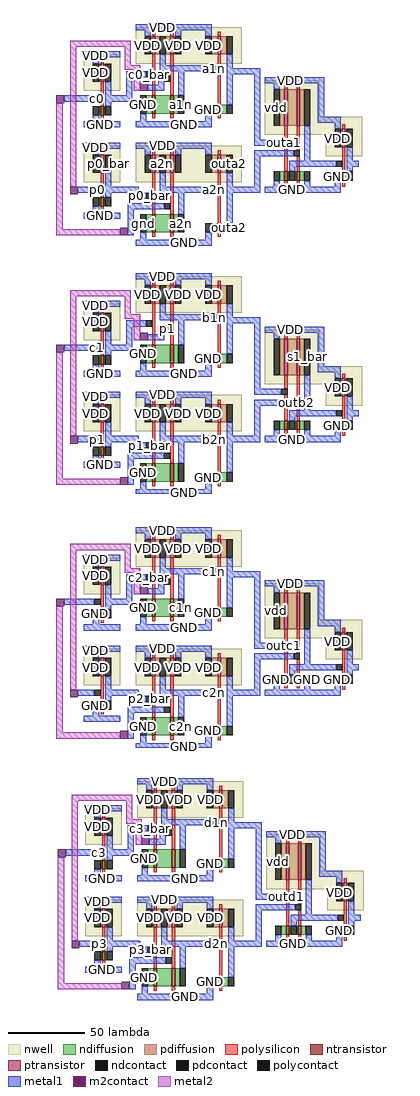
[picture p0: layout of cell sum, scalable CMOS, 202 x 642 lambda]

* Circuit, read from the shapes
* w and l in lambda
.subckt sum GND VDD a1m a1n a2m a2n aps b1m b1n b2m b2n bps c0 c0_bar c1 c1_bar c1m c1n c2 c2_bar c2m c2n c3 c3_bar cps d1m d1n d2m d2n dps outa1 outa2 outb1 outb2 outc1 outc2 outd1 outd2 p0 p0_bar p1 p1_bar p2 p2_bar p3 p3_bar s0 s0_bar s1 s1_bar s2 s2_bar s3 s3_bar
M1 p2_bar p2 GND VSUBS nfet w=6 l=2
M2 c2_bar c2 GND VSUBS nfet w=6 l=2
M3 p1_bar p1 GND VSUBS nfet w=6 l=2
M4 c1_bar c1 GND VSUBS nfet w=6 l=2
M5 p0_bar p0 GND VSUBS nfet w=6 l=2
M6 c0_bar c0 GND VSUBS nfet w=6 l=2
M7 p3_bar p3 GND VSUBS nfet w=6 l=2
M8 c3_bar c3 GND VSUBS nfet w=6 l=2
M9 c2m p2_bar GND VSUBS nfet w=12 l=2
M10 c1m c2_bar GND VSUBS nfet w=12 l=2
M11 b2m p1_bar GND VSUBS nfet w=12 l=2
M12 b1m c1_bar GND VSUBS nfet w=12 l=2
M13 a2m p0_bar GND VSUBS nfet w=12 l=2
M14 a1m c0_bar GND VSUBS nfet w=12 l=2
M15 d2m p3_bar GND VSUBS nfet w=12 l=2
M16 d1m c3_bar GND VSUBS nfet w=12 l=2
M17 c2n c2 c2m VSUBS nfet w=12 l=2
M18 c1n p2 c1m VSUBS nfet w=12 l=2
M19 b2n c1 b2m VSUBS nfet w=12 l=2
M20 b1n p1 b1m VSUBS nfet w=12 l=2
M21 a2n c0 a2m VSUBS nfet w=12 l=2
M22 a1n p0 a1m VSUBS nfet w=12 l=2
M23 d2n c3 d2m VSUBS nfet w=12 l=2
M24 d1n p3 d1m VSUBS nfet w=12 l=2
M25 outc2 c2n GND VSUBS nfet w=6 l=2
M26 outc1 c1n GND VSUBS nfet w=6 l=2
M27 outb2 b2n GND VSUBS nfet w=6 l=2
M28 outb1 b1n GND VSUBS nfet w=6 l=2
M29 outa2 a2n GND VSUBS nfet w=6 l=2
M30 outa1 a1n GND VSUBS nfet w=6 l=2
M31 outd2 d2n GND VSUBS nfet w=6 l=2
M32 outd1 d1n GND VSUBS nfet w=6 l=2
M33 s2_bar outc1 GND VSUBS nfet w=6 l=2
M34 s1_bar outb1 GND VSUBS nfet w=6 l=2
M35 s0_bar outa1 GND VSUBS nfet w=6 l=2
M36 s3_bar outd1 GND VSUBS nfet w=6 l=2
M37 GND outc2 s2_bar VSUBS nfet w=6 l=2
M38 GND outb2 s1_bar VSUBS nfet w=6 l=2
M39 GND outa2 s0_bar VSUBS nfet w=6 l=2
M40 GND outd2 s3_bar VSUBS nfet w=6 l=2
M41 s2 s2_bar GND VSUBS nfet w=6 l=2
M42 s1 s1_bar GND VSUBS nfet w=6 l=2
M43 s0 s0_bar GND VSUBS nfet w=6 l=2
M44 s3 s3_bar GND VSUBS nfet w=6 l=2
M45 p2_bar p2 VDD n1 pfet w=12 l=2
M46 c2_bar c2 VDD n2 pfet w=12 l=2
M47 p1_bar p1 VDD n3 pfet w=12 l=2
M48 c1_bar c1 VDD n4 pfet w=12 l=2
M49 p0_bar p0 VDD n5 pfet w=12 l=2
M50 c0_bar c0 VDD n6 pfet w=12 l=2
M51 p3_bar p3 VDD n7 pfet w=12 l=2
M52 c3_bar c3 VDD n8 pfet w=12 l=2
M53 c2n p2_bar VDD n9 pfet w=12 l=2
M54 c1n c2_bar VDD n10 pfet w=12 l=2
M55 b2n p1_bar VDD n11 pfet w=12 l=2
M56 b1n c1_bar VDD n12 pfet w=12 l=2
M57 a2n p0_bar VDD n13 pfet w=12 l=2
M58 a1n c0_bar VDD n14 pfet w=12 l=2
M59 d2n p3_bar VDD n15 pfet w=12 l=2
M60 d1n c3_bar VDD n16 pfet w=12 l=2
M61 VDD c2 c2n n9 pfet w=12 l=2
M62 VDD p2 c1n n10 pfet w=12 l=2
M63 VDD c1 b2n n11 pfet w=12 l=2
M64 VDD p1 b1n n12 pfet w=12 l=2
M65 VDD c0 a2n n13 pfet w=12 l=2
M66 VDD p0 a1n n14 pfet w=12 l=2
M67 VDD c3 d2n n15 pfet w=12 l=2
M68 VDD p3 d1n n16 pfet w=12 l=2
M69 outc2 c2n VDD n9 pfet w=12 l=2
M70 outc1 c1n VDD n10 pfet w=12 l=2
M71 outb2 b2n VDD n11 pfet w=12 l=2
M72 outb1 b1n VDD n12 pfet w=12 l=2
M73 outa2 a2n VDD n13 pfet w=12 l=2
M74 outa1 a1n VDD n14 pfet w=12 l=2
M75 outd2 d2n VDD n15 pfet w=12 l=2
M76 outd1 d1n VDD n16 pfet w=12 l=2
M77 cps outc1 VDD n17 pfet w=24 l=2
M78 bps outb1 VDD n18 pfet w=24 l=2
M79 aps outa1 VDD n19 pfet w=24 l=2
M80 dps outd1 VDD n20 pfet w=24 l=2
M81 s2_bar outc2 cps n17 pfet w=24 l=2
M82 s1_bar outb2 bps n18 pfet w=24 l=2
M83 s0_bar outa2 aps n19 pfet w=24 l=2
M84 s3_bar outd2 dps n20 pfet w=24 l=2
M85 s2 s2_bar VDD n17 pfet w=12 l=2
M86 s1 s1_bar VDD n18 pfet w=12 l=2
M87 s0 s0_bar VDD n19 pfet w=12 l=2
M88 s3 s3_bar VDD n20 pfet w=12 l=2
.ends

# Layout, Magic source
magic
tech scmos
<< nwell >>
rect 18 102 42 126
rect 52 120 122 144
rect 137 85 173 109
rect 137 73 201 85
rect 18 42 42 66
rect 52 42 122 66
rect 177 59 201 73
rect 18 -62 42 -38
rect 52 -44 122 -20
rect 137 -79 173 -55
rect 137 -91 201 -79
rect 18 -122 42 -98
rect 52 -122 122 -98
rect 177 -105 201 -91
rect 18 -229 42 -205
rect 52 -211 122 -187
rect 137 -246 173 -222
rect 137 -258 201 -246
rect 18 -289 42 -265
rect 52 -289 122 -265
rect 177 -272 201 -258
rect 19 -394 43 -370
rect 53 -376 123 -352
rect 138 -411 174 -387
rect 138 -423 202 -411
rect 19 -454 43 -430
rect 53 -454 123 -430
rect 178 -437 202 -423
<< ntransistor >>
rect 29 86 31 92
rect 63 87 65 99
rect 75 87 77 99
rect 106 87 108 93
rect 29 26 31 32
rect 63 9 65 21
rect 75 9 77 21
rect 150 43 152 49
rect 158 43 160 49
rect 188 43 190 49
rect 106 9 108 15
rect 29 -78 31 -72
rect 63 -77 65 -65
rect 75 -77 77 -65
rect 106 -77 108 -71
rect 29 -138 31 -132
rect 63 -155 65 -143
rect 75 -155 77 -143
rect 150 -121 152 -115
rect 158 -121 160 -115
rect 188 -121 190 -115
rect 106 -155 108 -149
rect 29 -245 31 -239
rect 63 -244 65 -232
rect 75 -244 77 -232
rect 106 -244 108 -238
rect 29 -305 31 -299
rect 63 -322 65 -310
rect 75 -322 77 -310
rect 150 -288 152 -282
rect 158 -288 160 -282
rect 188 -288 190 -282
rect 106 -322 108 -316
rect 30 -410 32 -404
rect 64 -409 66 -397
rect 76 -409 78 -397
rect 107 -409 109 -403
rect 30 -470 32 -464
rect 64 -487 66 -475
rect 76 -487 78 -475
rect 151 -453 153 -447
rect 159 -453 161 -447
rect 189 -453 191 -447
rect 107 -487 109 -481
<< ptransistor >>
rect 63 126 65 138
rect 75 126 77 138
rect 106 126 108 138
rect 29 108 31 120
rect 150 79 152 103
rect 158 79 160 103
rect 29 48 31 60
rect 63 48 65 60
rect 75 48 77 60
rect 106 48 108 60
rect 188 65 190 77
rect 63 -38 65 -26
rect 75 -38 77 -26
rect 106 -38 108 -26
rect 29 -56 31 -44
rect 150 -85 152 -61
rect 158 -85 160 -61
rect 29 -116 31 -104
rect 63 -116 65 -104
rect 75 -116 77 -104
rect 106 -116 108 -104
rect 188 -99 190 -87
rect 63 -205 65 -193
rect 75 -205 77 -193
rect 106 -205 108 -193
rect 29 -223 31 -211
rect 150 -252 152 -228
rect 158 -252 160 -228
rect 29 -283 31 -271
rect 63 -283 65 -271
rect 75 -283 77 -271
rect 106 -283 108 -271
rect 188 -266 190 -254
rect 64 -370 66 -358
rect 76 -370 78 -358
rect 107 -370 109 -358
rect 30 -388 32 -376
rect 151 -417 153 -393
rect 159 -417 161 -393
rect 30 -448 32 -436
rect 64 -448 66 -436
rect 76 -448 78 -436
rect 107 -448 109 -436
rect 189 -431 191 -419
<< ndiffusion >>
rect 28 86 29 92
rect 31 86 32 92
rect 59 87 63 99
rect 65 87 75 99
rect 77 87 80 99
rect 102 87 106 93
rect 108 87 112 93
rect 28 26 29 32
rect 31 26 32 32
rect 59 9 63 21
rect 65 9 75 21
rect 77 9 80 21
rect 147 43 150 49
rect 152 43 153 49
rect 157 43 158 49
rect 160 43 163 49
rect 187 43 188 49
rect 190 43 191 49
rect 102 9 106 15
rect 108 9 112 15
rect 28 -78 29 -72
rect 31 -78 32 -72
rect 59 -77 63 -65
rect 65 -77 75 -65
rect 77 -77 80 -65
rect 102 -77 106 -71
rect 108 -77 112 -71
rect 28 -138 29 -132
rect 31 -138 32 -132
rect 59 -155 63 -143
rect 65 -155 75 -143
rect 77 -155 80 -143
rect 147 -121 150 -115
rect 152 -121 153 -115
rect 157 -121 158 -115
rect 160 -121 163 -115
rect 187 -121 188 -115
rect 190 -121 191 -115
rect 102 -155 106 -149
rect 108 -155 112 -149
rect 28 -245 29 -239
rect 31 -245 32 -239
rect 59 -244 63 -232
rect 65 -244 75 -232
rect 77 -244 80 -232
rect 102 -244 106 -238
rect 108 -244 112 -238
rect 28 -305 29 -299
rect 31 -305 32 -299
rect 59 -322 63 -310
rect 65 -322 75 -310
rect 77 -322 80 -310
rect 147 -288 150 -282
rect 152 -288 153 -282
rect 157 -288 158 -282
rect 160 -288 163 -282
rect 187 -288 188 -282
rect 190 -288 191 -282
rect 102 -322 106 -316
rect 108 -322 112 -316
rect 29 -410 30 -404
rect 32 -410 33 -404
rect 60 -409 64 -397
rect 66 -409 76 -397
rect 78 -409 81 -397
rect 103 -409 107 -403
rect 109 -409 113 -403
rect 29 -470 30 -464
rect 32 -470 33 -464
rect 60 -487 64 -475
rect 66 -487 76 -475
rect 78 -487 81 -475
rect 148 -453 151 -447
rect 153 -453 154 -447
rect 158 -453 159 -447
rect 161 -453 164 -447
rect 188 -453 189 -447
rect 191 -453 192 -447
rect 103 -487 107 -481
rect 109 -487 113 -481
<< pdiffusion >>
rect 62 126 63 138
rect 65 126 68 138
rect 72 126 75 138
rect 77 126 78 138
rect 102 126 106 138
rect 108 126 112 138
rect 28 108 29 120
rect 31 108 32 120
rect 147 79 150 103
rect 152 79 158 103
rect 160 79 163 103
rect 28 48 29 60
rect 31 48 32 60
rect 62 48 63 60
rect 65 48 68 60
rect 72 48 75 60
rect 77 48 78 60
rect 102 48 106 60
rect 108 48 112 60
rect 187 65 188 77
rect 190 65 191 77
rect 62 -38 63 -26
rect 65 -38 68 -26
rect 72 -38 75 -26
rect 77 -38 78 -26
rect 102 -38 106 -26
rect 108 -38 112 -26
rect 28 -56 29 -44
rect 31 -56 32 -44
rect 147 -85 150 -61
rect 152 -85 158 -61
rect 160 -85 163 -61
rect 28 -116 29 -104
rect 31 -116 32 -104
rect 62 -116 63 -104
rect 65 -116 68 -104
rect 72 -116 75 -104
rect 77 -116 78 -104
rect 102 -116 106 -104
rect 108 -116 112 -104
rect 187 -99 188 -87
rect 190 -99 191 -87
rect 62 -205 63 -193
rect 65 -205 68 -193
rect 72 -205 75 -193
rect 77 -205 78 -193
rect 102 -205 106 -193
rect 108 -205 112 -193
rect 28 -223 29 -211
rect 31 -223 32 -211
rect 147 -252 150 -228
rect 152 -252 158 -228
rect 160 -252 163 -228
rect 28 -283 29 -271
rect 31 -283 32 -271
rect 62 -283 63 -271
rect 65 -283 68 -271
rect 72 -283 75 -271
rect 77 -283 78 -271
rect 102 -283 106 -271
rect 108 -283 112 -271
rect 187 -266 188 -254
rect 190 -266 191 -254
rect 63 -370 64 -358
rect 66 -370 69 -358
rect 73 -370 76 -358
rect 78 -370 79 -358
rect 103 -370 107 -358
rect 109 -370 113 -358
rect 29 -388 30 -376
rect 32 -388 33 -376
rect 148 -417 151 -393
rect 153 -417 159 -393
rect 161 -417 164 -393
rect 29 -448 30 -436
rect 32 -448 33 -436
rect 63 -448 64 -436
rect 66 -448 69 -436
rect 73 -448 76 -436
rect 78 -448 79 -436
rect 103 -448 107 -436
rect 109 -448 113 -436
rect 188 -431 189 -419
rect 191 -431 192 -419
<< ndcontact >>
rect 24 86 28 92
rect 32 86 36 92
rect 55 87 59 99
rect 80 87 84 99
rect 98 87 102 93
rect 112 87 116 93
rect 24 26 28 32
rect 32 26 36 32
rect 55 9 59 21
rect 80 9 84 21
rect 143 43 147 49
rect 153 43 157 49
rect 163 43 167 49
rect 183 43 187 49
rect 191 43 195 49
rect 98 9 102 15
rect 112 9 116 15
rect 24 -78 28 -72
rect 32 -78 36 -72
rect 55 -77 59 -65
rect 80 -77 84 -65
rect 98 -77 102 -71
rect 112 -77 116 -71
rect 24 -138 28 -132
rect 32 -138 36 -132
rect 55 -155 59 -143
rect 80 -155 84 -143
rect 143 -121 147 -115
rect 153 -121 157 -115
rect 163 -121 167 -115
rect 183 -121 187 -115
rect 191 -121 195 -115
rect 98 -155 102 -149
rect 112 -155 116 -149
rect 24 -245 28 -239
rect 32 -245 36 -239
rect 55 -244 59 -232
rect 80 -244 84 -232
rect 98 -244 102 -238
rect 112 -244 116 -238
rect 24 -305 28 -299
rect 32 -305 36 -299
rect 55 -322 59 -310
rect 80 -322 84 -310
rect 143 -288 147 -282
rect 153 -288 157 -282
rect 163 -288 167 -282
rect 183 -288 187 -282
rect 191 -288 195 -282
rect 98 -322 102 -316
rect 112 -322 116 -316
rect 25 -410 29 -404
rect 33 -410 37 -404
rect 56 -409 60 -397
rect 81 -409 85 -397
rect 99 -409 103 -403
rect 113 -409 117 -403
rect 25 -470 29 -464
rect 33 -470 37 -464
rect 56 -487 60 -475
rect 81 -487 85 -475
rect 144 -453 148 -447
rect 154 -453 158 -447
rect 164 -453 168 -447
rect 184 -453 188 -447
rect 192 -453 196 -447
rect 99 -487 103 -481
rect 113 -487 117 -481
<< pdcontact >>
rect 58 126 62 138
rect 68 126 72 138
rect 78 126 82 138
rect 98 126 102 138
rect 112 126 116 138
rect 24 108 28 120
rect 32 108 36 120
rect 143 79 147 103
rect 163 79 167 103
rect 24 48 28 60
rect 32 48 36 60
rect 58 48 62 60
rect 68 48 72 60
rect 78 48 82 60
rect 98 48 102 60
rect 112 48 116 60
rect 183 65 187 77
rect 191 65 195 77
rect 58 -38 62 -26
rect 68 -38 72 -26
rect 78 -38 82 -26
rect 98 -38 102 -26
rect 112 -38 116 -26
rect 24 -56 28 -44
rect 32 -56 36 -44
rect 143 -85 147 -61
rect 163 -85 167 -61
rect 24 -116 28 -104
rect 32 -116 36 -104
rect 58 -116 62 -104
rect 68 -116 72 -104
rect 78 -116 82 -104
rect 98 -116 102 -104
rect 112 -116 116 -104
rect 183 -99 187 -87
rect 191 -99 195 -87
rect 58 -205 62 -193
rect 68 -205 72 -193
rect 78 -205 82 -193
rect 98 -205 102 -193
rect 112 -205 116 -193
rect 24 -223 28 -211
rect 32 -223 36 -211
rect 143 -252 147 -228
rect 163 -252 167 -228
rect 24 -283 28 -271
rect 32 -283 36 -271
rect 58 -283 62 -271
rect 68 -283 72 -271
rect 78 -283 82 -271
rect 98 -283 102 -271
rect 112 -283 116 -271
rect 183 -266 187 -254
rect 191 -266 195 -254
rect 59 -370 63 -358
rect 69 -370 73 -358
rect 79 -370 83 -358
rect 99 -370 103 -358
rect 113 -370 117 -358
rect 25 -388 29 -376
rect 33 -388 37 -376
rect 144 -417 148 -393
rect 164 -417 168 -393
rect 25 -448 29 -436
rect 33 -448 37 -436
rect 59 -448 63 -436
rect 69 -448 73 -436
rect 79 -448 83 -436
rect 99 -448 103 -436
rect 113 -448 117 -436
rect 184 -431 188 -419
rect 192 -431 196 -419
<< polysilicon >>
rect 63 138 65 141
rect 75 138 77 141
rect 106 138 108 141
rect 29 120 31 123
rect 29 92 31 108
rect 63 99 65 126
rect 75 99 77 126
rect 106 93 108 126
rect 150 103 152 106
rect 158 103 160 106
rect 29 83 31 86
rect 63 84 65 87
rect 75 84 77 87
rect 106 84 108 87
rect 150 70 152 79
rect 29 60 31 63
rect 63 60 65 63
rect 75 60 77 63
rect 106 60 108 63
rect 150 49 152 66
rect 158 63 160 79
rect 188 77 190 80
rect 158 49 160 59
rect 188 49 190 65
rect 29 32 31 48
rect 29 23 31 26
rect 63 21 65 48
rect 75 21 77 48
rect 106 15 108 48
rect 150 40 152 43
rect 158 40 160 43
rect 188 39 190 43
rect 63 6 65 9
rect 75 6 77 9
rect 106 6 108 9
rect 63 -26 65 -23
rect 75 -26 77 -23
rect 106 -26 108 -23
rect 29 -44 31 -41
rect 29 -72 31 -56
rect 63 -65 65 -38
rect 75 -65 77 -38
rect 106 -71 108 -38
rect 150 -61 152 -58
rect 158 -61 160 -58
rect 29 -81 31 -78
rect 63 -80 65 -77
rect 75 -80 77 -77
rect 106 -80 108 -77
rect 150 -94 152 -85
rect 29 -104 31 -101
rect 63 -104 65 -101
rect 75 -104 77 -101
rect 106 -104 108 -101
rect 150 -115 152 -98
rect 158 -101 160 -85
rect 188 -87 190 -84
rect 158 -115 160 -105
rect 188 -115 190 -99
rect 29 -132 31 -116
rect 29 -141 31 -138
rect 63 -143 65 -116
rect 75 -143 77 -116
rect 106 -149 108 -116
rect 150 -124 152 -121
rect 158 -124 160 -121
rect 188 -125 190 -121
rect 63 -158 65 -155
rect 75 -158 77 -155
rect 106 -158 108 -155
rect 63 -193 65 -190
rect 75 -193 77 -190
rect 106 -193 108 -190
rect 29 -211 31 -208
rect 29 -239 31 -223
rect 63 -232 65 -205
rect 75 -232 77 -205
rect 106 -238 108 -205
rect 150 -228 152 -225
rect 158 -228 160 -225
rect 29 -248 31 -245
rect 63 -247 65 -244
rect 75 -247 77 -244
rect 106 -247 108 -244
rect 150 -261 152 -252
rect 29 -271 31 -268
rect 63 -271 65 -268
rect 75 -271 77 -268
rect 106 -271 108 -268
rect 150 -282 152 -265
rect 158 -268 160 -252
rect 188 -254 190 -251
rect 158 -282 160 -272
rect 188 -282 190 -266
rect 29 -299 31 -283
rect 29 -308 31 -305
rect 63 -310 65 -283
rect 75 -310 77 -283
rect 106 -316 108 -283
rect 150 -291 152 -288
rect 158 -291 160 -288
rect 188 -292 190 -288
rect 63 -325 65 -322
rect 75 -325 77 -322
rect 106 -325 108 -322
rect 64 -358 66 -355
rect 76 -358 78 -355
rect 107 -358 109 -355
rect 30 -376 32 -373
rect 30 -404 32 -388
rect 64 -397 66 -370
rect 76 -397 78 -370
rect 107 -403 109 -370
rect 151 -393 153 -390
rect 159 -393 161 -390
rect 30 -413 32 -410
rect 64 -412 66 -409
rect 76 -412 78 -409
rect 107 -412 109 -409
rect 151 -426 153 -417
rect 30 -436 32 -433
rect 64 -436 66 -433
rect 76 -436 78 -433
rect 107 -436 109 -433
rect 151 -447 153 -430
rect 159 -433 161 -417
rect 189 -419 191 -416
rect 159 -447 161 -437
rect 189 -447 191 -431
rect 30 -464 32 -448
rect 30 -473 32 -470
rect 64 -475 66 -448
rect 76 -475 78 -448
rect 107 -481 109 -448
rect 151 -456 153 -453
rect 159 -456 161 -453
rect 189 -457 191 -453
rect 64 -490 66 -487
rect 76 -490 78 -487
rect 107 -490 109 -487
<< polycontact >>
rect 59 111 63 115
rect 25 95 29 99
rect 71 108 75 112
rect 102 115 106 119
rect 148 66 152 70
rect 156 59 160 63
rect 184 52 188 56
rect 25 35 29 39
rect 59 31 63 35
rect 71 24 75 28
rect 102 35 106 39
rect 59 -53 63 -49
rect 25 -69 29 -65
rect 71 -56 75 -52
rect 102 -49 106 -45
rect 148 -98 152 -94
rect 156 -105 160 -101
rect 184 -112 188 -108
rect 25 -129 29 -125
rect 59 -133 63 -129
rect 71 -140 75 -136
rect 102 -129 106 -125
rect 59 -220 63 -216
rect 25 -236 29 -232
rect 71 -223 75 -219
rect 102 -216 106 -212
rect 148 -265 152 -261
rect 156 -272 160 -268
rect 184 -279 188 -275
rect 25 -296 29 -292
rect 59 -300 63 -296
rect 71 -307 75 -303
rect 102 -296 106 -292
rect 60 -385 64 -381
rect 26 -401 30 -397
rect 72 -388 76 -384
rect 103 -381 107 -377
rect 149 -430 153 -426
rect 157 -437 161 -433
rect 185 -444 189 -440
rect 26 -461 30 -457
rect 60 -465 64 -461
rect 72 -472 76 -468
rect 103 -461 107 -457
<< metal1 >>
rect 52 142 102 146
rect 58 138 62 142
rect 78 138 82 142
rect 18 124 42 128
rect 98 138 102 142
rect 24 120 28 124
rect 68 119 72 126
rect 68 115 102 119
rect 112 117 116 126
rect 32 99 36 108
rect 46 111 59 115
rect 46 99 50 111
rect 67 106 71 112
rect 60 102 71 106
rect 80 99 84 115
rect 5 95 25 99
rect 32 95 50 99
rect 32 92 36 95
rect 112 113 134 117
rect 112 93 116 113
rect 24 82 28 86
rect 55 82 59 87
rect 98 82 102 87
rect 18 78 42 82
rect 52 78 102 82
rect 130 70 134 113
rect 137 107 176 111
rect 143 103 147 107
rect 172 85 176 107
rect 172 81 187 85
rect 18 64 42 68
rect 52 64 102 68
rect 130 66 148 70
rect 24 60 28 64
rect 58 60 62 64
rect 78 60 82 64
rect 98 60 102 64
rect 32 39 36 48
rect 68 39 72 48
rect 112 39 116 48
rect 130 59 156 63
rect 130 39 134 59
rect 163 56 167 79
rect 183 77 187 81
rect 191 56 195 65
rect 153 52 184 56
rect 191 52 199 56
rect 153 49 157 52
rect 191 49 195 52
rect 143 39 147 43
rect 163 39 167 43
rect 183 39 187 43
rect 14 35 25 39
rect 32 35 54 39
rect 68 35 102 39
rect 112 35 134 39
rect 137 35 187 39
rect 32 32 36 35
rect 50 31 59 35
rect 24 22 28 26
rect 47 24 71 28
rect 18 18 42 22
rect 47 7 51 24
rect 80 21 84 35
rect 112 15 116 35
rect 55 4 59 9
rect 98 4 102 9
rect 52 0 102 4
rect 52 -22 102 -18
rect 58 -26 62 -22
rect 78 -26 82 -22
rect 18 -40 42 -36
rect 98 -26 102 -22
rect 24 -44 28 -40
rect 68 -45 72 -38
rect 68 -49 102 -45
rect 112 -47 116 -38
rect 32 -65 36 -56
rect 46 -53 59 -49
rect 46 -65 50 -53
rect 67 -58 71 -52
rect 60 -62 71 -58
rect 80 -65 84 -49
rect 5 -69 25 -65
rect 32 -69 50 -65
rect 32 -72 36 -69
rect 112 -51 134 -47
rect 112 -71 116 -51
rect 24 -82 28 -78
rect 55 -82 59 -77
rect 98 -82 102 -77
rect 18 -86 42 -82
rect 52 -86 102 -82
rect 130 -94 134 -51
rect 137 -57 176 -53
rect 143 -61 147 -57
rect 172 -79 176 -57
rect 172 -83 187 -79
rect 18 -100 42 -96
rect 52 -100 102 -96
rect 130 -98 148 -94
rect 24 -104 28 -100
rect 58 -104 62 -100
rect 78 -104 82 -100
rect 98 -104 102 -100
rect 32 -125 36 -116
rect 68 -125 72 -116
rect 112 -125 116 -116
rect 130 -105 156 -101
rect 130 -125 134 -105
rect 163 -108 167 -85
rect 183 -87 187 -83
rect 191 -108 195 -99
rect 153 -112 184 -108
rect 191 -112 199 -108
rect 153 -115 157 -112
rect 191 -115 195 -112
rect 143 -125 147 -121
rect 163 -125 167 -121
rect 183 -125 187 -121
rect 14 -129 25 -125
rect 32 -129 54 -125
rect 68 -129 102 -125
rect 112 -129 134 -125
rect 137 -129 187 -125
rect 32 -132 36 -129
rect 50 -133 59 -129
rect 24 -142 28 -138
rect 47 -140 71 -136
rect 18 -146 42 -142
rect 47 -157 51 -140
rect 80 -143 84 -129
rect 112 -149 116 -129
rect 55 -160 59 -155
rect 98 -160 102 -155
rect 52 -163 102 -160
rect 52 -189 102 -185
rect 58 -193 62 -189
rect 78 -193 82 -189
rect 18 -207 42 -203
rect 98 -193 102 -189
rect 24 -211 28 -207
rect 68 -212 72 -205
rect 68 -216 102 -212
rect 112 -214 116 -205
rect 32 -232 36 -223
rect 46 -220 59 -216
rect 46 -232 50 -220
rect 67 -225 71 -219
rect 60 -229 71 -225
rect 80 -232 84 -216
rect 5 -236 25 -232
rect 32 -236 50 -232
rect 32 -239 36 -236
rect 112 -218 134 -214
rect 112 -238 116 -218
rect 24 -249 28 -245
rect 55 -249 59 -244
rect 98 -249 102 -244
rect 18 -253 42 -249
rect 52 -253 102 -249
rect 130 -261 134 -218
rect 137 -224 176 -220
rect 143 -228 147 -224
rect 172 -246 176 -224
rect 172 -250 187 -246
rect 18 -267 42 -263
rect 52 -267 102 -263
rect 130 -265 148 -261
rect 24 -271 28 -267
rect 58 -271 62 -267
rect 78 -271 82 -267
rect 98 -271 102 -267
rect 32 -292 36 -283
rect 68 -292 72 -283
rect 112 -292 116 -283
rect 130 -272 156 -268
rect 130 -292 134 -272
rect 163 -275 167 -252
rect 183 -254 187 -250
rect 191 -275 195 -266
rect 153 -279 184 -275
rect 191 -279 199 -275
rect 153 -282 157 -279
rect 191 -282 195 -279
rect 143 -292 147 -288
rect 163 -292 167 -288
rect 183 -292 187 -288
rect 14 -296 25 -292
rect 32 -296 54 -292
rect 68 -296 102 -292
rect 112 -296 134 -292
rect 137 -296 187 -292
rect 32 -299 36 -296
rect 50 -300 59 -296
rect 24 -309 28 -305
rect 47 -307 71 -303
rect 18 -313 42 -309
rect 47 -324 51 -307
rect 80 -310 84 -296
rect 112 -316 116 -296
rect 55 -327 59 -322
rect 98 -327 102 -322
rect 52 -330 102 -327
rect 53 -354 103 -350
rect 59 -358 63 -354
rect 79 -358 83 -354
rect 19 -372 43 -368
rect 99 -358 103 -354
rect 25 -376 29 -372
rect 69 -377 73 -370
rect 69 -381 103 -377
rect 113 -379 117 -370
rect 33 -397 37 -388
rect 47 -385 60 -381
rect 47 -397 51 -385
rect 68 -390 72 -384
rect 61 -394 72 -390
rect 81 -397 85 -381
rect 6 -401 26 -397
rect 33 -401 51 -397
rect 33 -404 37 -401
rect 113 -383 135 -379
rect 113 -403 117 -383
rect 25 -414 29 -410
rect 56 -414 60 -409
rect 99 -414 103 -409
rect 19 -418 43 -414
rect 53 -418 103 -414
rect 131 -426 135 -383
rect 138 -389 177 -385
rect 144 -393 148 -389
rect 173 -411 177 -389
rect 173 -415 188 -411
rect 19 -432 43 -428
rect 53 -432 103 -428
rect 131 -430 149 -426
rect 25 -436 29 -432
rect 59 -436 63 -432
rect 79 -436 83 -432
rect 99 -436 103 -432
rect 33 -457 37 -448
rect 69 -457 73 -448
rect 113 -457 117 -448
rect 131 -437 157 -433
rect 131 -457 135 -437
rect 164 -440 168 -417
rect 184 -419 188 -415
rect 192 -440 196 -431
rect 154 -444 185 -440
rect 192 -444 200 -440
rect 154 -447 158 -444
rect 192 -447 196 -444
rect 144 -457 148 -453
rect 164 -457 168 -453
rect 184 -457 188 -453
rect 15 -461 26 -457
rect 33 -461 55 -457
rect 69 -461 103 -457
rect 113 -461 135 -457
rect 138 -461 188 -457
rect 33 -464 37 -461
rect 51 -465 60 -461
rect 25 -474 29 -470
rect 48 -472 72 -468
rect 19 -478 43 -474
rect 48 -489 52 -472
rect 81 -475 85 -461
rect 113 -481 117 -461
rect 56 -492 60 -487
rect 99 -492 103 -487
rect 53 -496 103 -492
<< m2contact >>
rect 55 102 60 107
rect 0 94 5 99
rect 9 34 14 39
rect 42 7 47 12
rect 55 -62 60 -57
rect 0 -70 5 -65
rect 9 -130 14 -125
rect 42 -157 47 -152
rect 55 -229 60 -224
rect 0 -237 5 -232
rect 9 -297 14 -292
rect 42 -324 47 -319
rect 56 -394 61 -389
rect 1 -402 6 -397
rect 10 -462 15 -457
rect 43 -489 48 -484
<< metal2 >>
rect 9 131 49 135
rect 0 11 4 94
rect 9 39 13 131
rect 45 119 49 131
rect 45 116 55 119
rect 51 102 55 116
rect 0 7 42 11
rect 9 -33 49 -29
rect 0 -153 4 -70
rect 9 -125 13 -33
rect 45 -45 49 -33
rect 45 -48 55 -45
rect 51 -62 55 -48
rect 0 -157 42 -153
rect 9 -200 49 -196
rect 0 -320 4 -237
rect 9 -292 13 -200
rect 45 -212 49 -200
rect 45 -215 55 -212
rect 51 -229 55 -215
rect 0 -324 42 -320
rect 10 -365 50 -361
rect 1 -485 5 -402
rect 10 -457 14 -365
rect 46 -377 50 -365
rect 46 -380 56 -377
rect 52 -394 56 -380
rect 1 -489 43 -485
<< labels >>
rlabel metal1 26 125 26 125 5 VDD
rlabel metal1 29 80 29 80 1 GND
rlabel metal1 26 65 26 65 5 VDD
rlabel metal1 29 20 29 20 1 GND
rlabel metal1 70 66 70 66 5 VDD
rlabel metal1 84 2 84 2 1 GND
rlabel metal1 70 144 70 144 5 VDD
rlabel metal1 84 80 84 80 1 GND
rlabel metal1 154 109 154 109 5 VDD
rlabel metal1 155 37 155 37 1 GND
rlabel ndcontact 26 89 26 89 1 GND
rlabel pdcontact 26 114 26 114 1 VDD
rlabel ndcontact 57 93 57 93 1 GND
rlabel pdcontact 60 132 60 132 1 VDD
rlabel pdcontact 80 132 80 132 1 VDD
rlabel pdcontact 100 132 100 132 1 VDD
rlabel ndcontact 100 90 100 90 1 GND
rlabel ndcontact 145 46 145 46 1 GND
rlabel ndcontact 165 46 165 46 1 GND
rlabel ndcontact 185 46 185 46 1 GND
rlabel pdcontact 185 71 185 71 1 VDD
rlabel pdcontact 185 -260 185 -260 1 VDD
rlabel ndcontact 185 -285 185 -285 1 GND
rlabel ndcontact 165 -285 165 -285 1 GND
rlabel ndcontact 145 -285 145 -285 1 GND
rlabel ndcontact 100 -319 100 -319 1 GND
rlabel pdcontact 100 -277 100 -277 1 VDD
rlabel ndcontact 100 -241 100 -241 1 GND
rlabel pdcontact 100 -199 100 -199 1 VDD
rlabel pdcontact 80 -199 80 -199 1 VDD
rlabel pdcontact 60 -199 60 -199 1 VDD
rlabel ndcontact 57 -238 57 -238 1 GND
rlabel pdcontact 80 -277 80 -277 1 VDD
rlabel pdcontact 60 -277 60 -277 1 VDD
rlabel ndcontact 57 -316 57 -316 1 GND
rlabel pdcontact 26 -217 26 -217 1 VDD
rlabel ndcontact 26 -242 26 -242 1 GND
rlabel pdcontact 26 -277 26 -277 1 VDD
rlabel ndcontact 26 -302 26 -302 1 GND
rlabel metal1 155 -294 155 -294 1 GND
rlabel metal1 154 -222 154 -222 5 VDD
rlabel metal1 84 -251 84 -251 1 GND
rlabel metal1 70 -187 70 -187 5 VDD
rlabel metal1 84 -329 84 -329 1 GND
rlabel metal1 70 -265 70 -265 5 VDD
rlabel metal1 29 -311 29 -311 1 GND
rlabel metal1 26 -266 26 -266 5 VDD
rlabel metal1 29 -251 29 -251 1 GND
rlabel metal1 26 -206 26 -206 5 VDD
rlabel metal1 26 -39 26 -39 5 VDD
rlabel metal1 29 -84 29 -84 1 GND
rlabel metal1 26 -99 26 -99 5 VDD
rlabel metal1 29 -144 29 -144 1 GND
rlabel metal1 70 -98 70 -98 5 VDD
rlabel metal1 84 -162 84 -162 1 GND
rlabel metal1 70 -20 70 -20 5 VDD
rlabel metal1 84 -84 84 -84 1 GND
rlabel metal1 154 -55 154 -55 5 VDD
rlabel metal1 155 -127 155 -127 1 GND
rlabel ndcontact 26 -135 26 -135 1 GND
rlabel pdcontact 26 -110 26 -110 1 VDD
rlabel ndcontact 26 -75 26 -75 1 GND
rlabel pdcontact 26 -50 26 -50 1 VDD
rlabel ndcontact 57 -149 57 -149 1 GND
rlabel pdcontact 60 -110 60 -110 1 VDD
rlabel pdcontact 80 -110 80 -110 1 VDD
rlabel ndcontact 57 -71 57 -71 1 GND
rlabel pdcontact 60 -32 60 -32 1 VDD
rlabel pdcontact 80 -32 80 -32 1 VDD
rlabel pdcontact 100 -32 100 -32 1 VDD
rlabel ndcontact 100 -74 100 -74 1 GND
rlabel pdcontact 100 -110 100 -110 1 VDD
rlabel ndcontact 100 -152 100 -152 1 GND
rlabel ndcontact 145 -118 145 -118 1 GND
rlabel ndcontact 165 -118 165 -118 1 GND
rlabel ndcontact 185 -118 185 -118 1 GND
rlabel pdcontact 185 -93 185 -93 1 VDD
rlabel metal1 27 -371 27 -371 5 VDD
rlabel metal1 30 -416 30 -416 1 GND
rlabel metal1 27 -431 27 -431 5 VDD
rlabel metal1 30 -476 30 -476 1 GND
rlabel metal1 71 -430 71 -430 5 VDD
rlabel metal1 85 -494 85 -494 1 GND
rlabel metal1 71 -352 71 -352 5 VDD
rlabel metal1 85 -416 85 -416 1 GND
rlabel metal1 155 -387 155 -387 5 VDD
rlabel metal1 156 -459 156 -459 1 GND
rlabel ndcontact 27 -467 27 -467 1 GND
rlabel pdcontact 27 -442 27 -442 1 VDD
rlabel ndcontact 27 -407 27 -407 1 GND
rlabel pdcontact 27 -382 27 -382 1 VDD
rlabel ndcontact 58 -481 58 -481 1 GND
rlabel pdcontact 61 -442 61 -442 1 VDD
rlabel pdcontact 81 -442 81 -442 1 VDD
rlabel ndcontact 58 -403 58 -403 1 GND
rlabel pdcontact 61 -364 61 -364 1 VDD
rlabel pdcontact 81 -364 81 -364 1 VDD
rlabel pdcontact 101 -364 101 -364 1 VDD
rlabel ndcontact 101 -406 101 -406 1 GND
rlabel pdcontact 101 -442 101 -442 1 VDD
rlabel ndcontact 101 -484 101 -484 1 GND
rlabel ndcontact 146 -450 146 -450 1 GND
rlabel ndcontact 166 -450 166 -450 1 GND
rlabel ndcontact 186 -450 186 -450 1 GND
rlabel pdcontact 186 -425 186 -425 1 VDD
rlabel polycontact 27 37 27 37 1 p0
rlabel pdcontact 34 54 34 54 1 p0_bar
rlabel polycontact 61 33 61 33 1 p0_bar
rlabel polycontact 73 26 73 26 1 c0
rlabel polycontact 27 97 27 97 1 c0
rlabel pdcontact 34 114 34 114 1 c0_bar
rlabel polycontact 61 113 61 113 1 c0_bar
rlabel polycontact 73 110 73 110 1 p0
rlabel metal1 197 54 197 54 7 s0
rlabel ndcontact 193 46 193 46 1 s0
rlabel pdcontact 193 71 193 71 1 s0
rlabel pdcontact 145 91 145 91 1 vdd
rlabel pdcontact 70 132 70 132 1 a1n
rlabel ndiffusion 70 93 70 93 1 a1m
rlabel ndcontact 82 93 82 93 1 a1n
rlabel polycontact 104 117 104 117 1 a1n
rlabel ndcontact 114 90 114 90 1 outa1
rlabel pdcontact 114 132 114 132 1 outa1
rlabel polycontact 150 68 150 68 1 outa1
rlabel polycontact 158 61 158 61 1 outa2
rlabel polycontact 186 54 186 54 1 s0_bar
rlabel ndcontact 155 46 155 46 1 s0_bar
rlabel pdcontact 165 91 165 91 1 s0_bar
rlabel pdcontact 114 54 114 54 1 outa2
rlabel ndcontact 114 12 114 12 1 outa2
rlabel polycontact 104 37 104 37 1 a2n
rlabel pdcontact 70 54 70 54 1 a2n
rlabel ndcontact 82 15 82 15 1 a2n
rlabel ndiffusion 70 15 70 15 1 a2m
rlabel polycontact 27 -127 27 -127 1 p1
rlabel ndcontact 34 -135 34 -135 1 p1_bar
rlabel pdcontact 34 -110 34 -110 1 p1_bar
rlabel polycontact 61 -131 61 -131 1 p1_bar
rlabel polycontact 73 -138 73 -138 1 c1
rlabel pdcontact 70 -110 70 -110 1 b2n
rlabel ndcontact 82 -149 82 -149 1 b2n
rlabel ndiffusion 70 -149 70 -149 1 b2m
rlabel polycontact 104 -127 104 -127 1 b2n
rlabel pdcontact 114 -110 114 -110 1 outb2
rlabel ndcontact 114 -152 114 -152 1 outb2
rlabel polycontact 158 -103 158 -103 1 outb2
rlabel ndcontact 155 -118 155 -118 1 s1_bar
rlabel polycontact 186 -110 186 -110 1 s1_bar
rlabel metal1 197 -110 197 -110 7 s1
rlabel ndcontact 193 -118 193 -118 1 s1
rlabel pdcontact 193 -93 193 -93 1 s1
rlabel pdcontact 165 -73 165 -73 1 s1_bar
rlabel pdcontact 145 -73 145 -73 1 vdd
rlabel polycontact 150 -96 150 -96 1 outb1
rlabel ndcontact 114 -74 114 -74 1 outb1
rlabel pdcontact 114 -32 114 -32 1 outb1
rlabel polycontact 104 -47 104 -47 1 b1n
rlabel pdcontact 70 -32 70 -32 1 b1n
rlabel ndcontact 82 -71 82 -71 1 b1n
rlabel ndiffusion 70 -71 70 -71 1 b1m
rlabel polycontact 73 -54 73 -54 1 p1
rlabel polycontact 61 -51 61 -51 1 c1_bar
rlabel ndcontact 34 -75 34 -75 1 c1_bar
rlabel pdcontact 34 -50 34 -50 1 c1_bar
rlabel polycontact 27 -67 27 -67 1 c1
rlabel polycontact 27 -294 27 -294 1 p2
rlabel ndcontact 34 -302 34 -302 1 p2_bar
rlabel pdcontact 34 -277 34 -277 1 p2_bar
rlabel polycontact 61 -298 61 -298 1 p2_bar
rlabel polycontact 73 -305 73 -305 1 c2
rlabel polycontact 27 -234 27 -234 1 c2
rlabel ndcontact 34 -242 34 -242 1 c2_bar
rlabel pdcontact 34 -217 34 -217 1 c2_bar
rlabel polycontact 61 -218 61 -218 1 c2_bar
rlabel polycontact 73 -221 73 -221 1 p2
rlabel pdcontact 70 -199 70 -199 1 c1n
rlabel ndcontact 82 -238 82 -238 1 c1n
rlabel ndiffusion 70 -238 70 -238 1 c1m
rlabel polycontact 104 -214 104 -214 1 c1n
rlabel pdcontact 114 -199 114 -199 1 outc1
rlabel ndcontact 114 -241 114 -241 1 outc1
rlabel polycontact 150 -263 150 -263 1 outc1
rlabel pdcontact 145 -240 145 -240 1 vdd
rlabel polycontact 158 -270 158 -270 1 outc2
rlabel pdcontact 165 -240 165 -240 1 s2_bar
rlabel polycontact 186 -277 186 -277 1 s2_bar
rlabel ndcontact 155 -285 155 -285 1 s2_bar
rlabel metal1 197 -277 197 -277 7 s2
rlabel pdcontact 70 -277 70 -277 1 c2n
rlabel ndiffusion 70 -316 70 -316 1 c2m
rlabel ndcontact 82 -316 82 -316 1 c2n
rlabel polycontact 104 -294 104 -294 1 c2n
rlabel ndcontact 114 -319 114 -319 1 outc2
rlabel pdcontact 114 -277 114 -277 1 outc2
rlabel polycontact 28 -459 28 -459 1 p3
rlabel ndcontact 35 -467 35 -467 1 p3_bar
rlabel pdcontact 35 -442 35 -442 1 p3_bar
rlabel polycontact 62 -463 62 -463 1 p3_bar
rlabel polycontact 74 -470 74 -470 1 c3
rlabel polycontact 28 -399 28 -399 1 c3
rlabel ndcontact 35 -407 35 -407 1 c3_bar
rlabel pdcontact 35 -382 35 -382 1 c3_bar
rlabel polycontact 62 -383 62 -383 1 c3_bar
rlabel polycontact 74 -386 74 -386 1 p3
rlabel pdcontact 71 -364 71 -364 1 d1n
rlabel ndcontact 83 -403 83 -403 1 d1n
rlabel ndiffusion 71 -403 71 -403 1 d1m
rlabel polycontact 105 -379 105 -379 1 d1n
rlabel pdcontact 115 -364 115 -364 1 outd1
rlabel ndcontact 115 -406 115 -406 1 outd1
rlabel polycontact 151 -428 151 -428 1 outd1
rlabel polycontact 159 -435 159 -435 1 outd2
rlabel pdcontact 146 -405 146 -405 1 vdd
rlabel pdcontact 166 -405 166 -405 1 s3_bar
rlabel polycontact 187 -442 187 -442 1 s3_bar
rlabel metal1 198 -442 198 -442 7 s3
rlabel pdcontact 194 -425 194 -425 1 s3
rlabel ndcontact 156 -450 156 -450 1 s3_bar
rlabel pdcontact 71 -442 71 -442 1 d2n
rlabel ndcontact 83 -481 83 -481 1 d2n
rlabel ndiffusion 71 -481 71 -481 1 d2m
rlabel polycontact 105 -459 105 -459 1 d2n
rlabel pdcontact 115 -442 115 -442 1 outd2
rlabel ndcontact 115 -484 115 -484 1 outd2
rlabel pdiffusion 156 -404 156 -404 1 dps
rlabel pdiffusion 155 -240 155 -240 1 cps
rlabel pdiffusion 155 -72 155 -72 1 bps
rlabel pdiffusion 155 90 155 90 1 aps
rlabel ndcontact 193 -285 193 -285 1 s2
rlabel pdcontact 193 -260 193 -260 1 s2
rlabel ndcontact 194 -450 194 -450 1 s3
rlabel ndcontact 34 89 34 89 1 c0_bar
rlabel ndcontact 34 29 34 29 1 p0_bar
rlabel pdcontact 26 54 26 54 1 vdd
rlabel ndcontact 26 29 26 29 1 gnd
rlabel ndcontact 57 15 57 15 1 gnd
rlabel pdcontact 60 54 60 54 1 vdd
rlabel pdcontact 80 54 80 54 1 vdd
rlabel ndcontact 100 12 100 12 1 gnd
rlabel pdcontact 100 54 100 54 1 vdd
<< end >>
